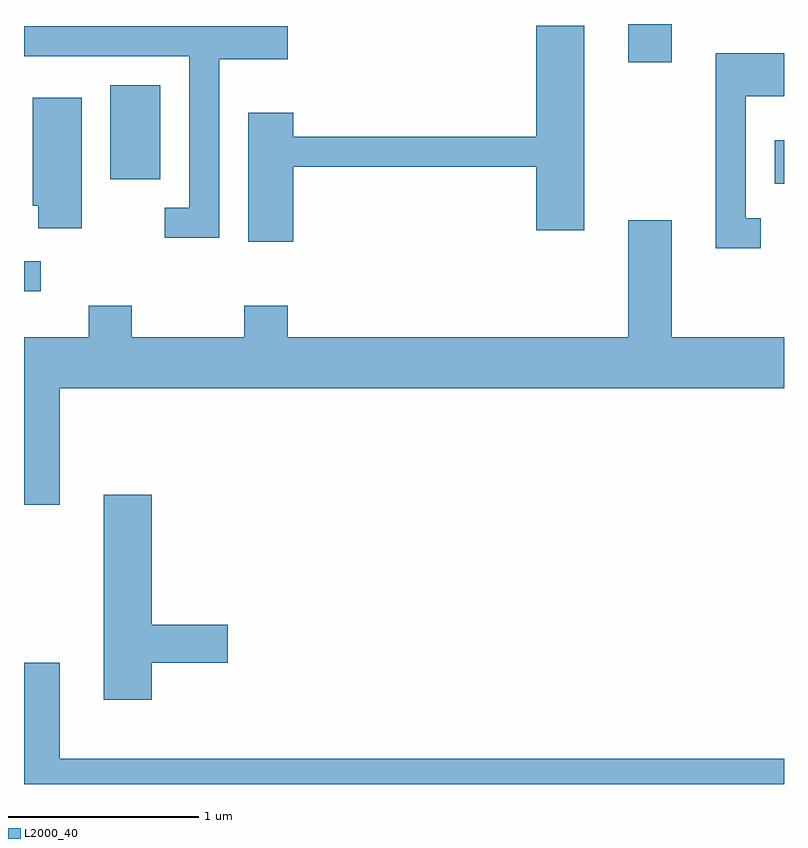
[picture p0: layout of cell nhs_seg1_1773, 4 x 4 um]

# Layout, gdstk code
import gdstk
lib = gdstk.Library(unit=1e-6, precision=1e-09)
def R(c, l, rs):  # rectangles x0, y0, x1, y1
    for r in rs: c.add(gdstk.rectangle(r[:2], r[2:], *l))
def P(c, l, *ps):  # polygons
    for p in ps: c.add(gdstk.Polygon(p, *l))
L2000_40 = (2000, 40)

nhs_seg1_1773 = lib.new_cell('nhs_seg1_1773')
R(nhs_seg1_1773, L2000_40, [(239.611,902.306,239.698,902.464), (243.561,902.871,243.611,903.099), (240.066,902.896,240.329,903.389), (242.791,903.511,243.019,903.712)])
P(nhs_seg1_1773, L2000_40, [(241.029,902.961),(242.306,902.961),(242.306,902.626),(242.559,902.626),(242.559,903.704),(242.306,903.704),(242.306,903.119),(241.029,903.119),(241.029,903.244),(240.791,903.244),(240.791,902.566),(241.029,902.566)],
  [(240.639,903.526),(240.999,903.526),(240.999,903.699),(239.611,903.699),(239.611,903.541),(240.481,903.541),(240.481,902.744),(240.353,902.744),(240.353,902.586),(240.639,902.586)],
  [(243.488,902.689),(243.409,902.689),(243.409,903.331),(243.611,903.331),(243.611,903.559),(243.251,903.559),(243.251,902.531),(243.488,902.531)],
  [(239.914,903.324),(239.656,903.324),(239.656,902.756),(239.686,902.756),(239.686,902.636),(239.914,902.636)],
  [(239.799,901.796),(243.611,901.796),(243.611,902.064),(243.019,902.064),(243.019,902.679),(242.791,902.679),(242.791,902.064),(240.999,902.064),(240.999,902.229),(240.771,902.229),(240.771,902.064),(240.179,902.064),(240.179,902.229),(239.951,902.229),(239.951,902.064),(239.611,902.064),(239.611,901.181),(239.799,901.181)],
  [(240.284,900.351),(240.684,900.351),(240.684,900.549),(240.284,900.549),(240.284,901.234),(240.031,901.234),(240.031,900.156),(240.284,900.156)],
  [(243.611,899.844),(239.799,899.844),(239.799,900.349),(239.611,900.349),(239.611,899.712),(243.611,899.712)])

lib.write_gds('nhs_seg1_1773.gds')
